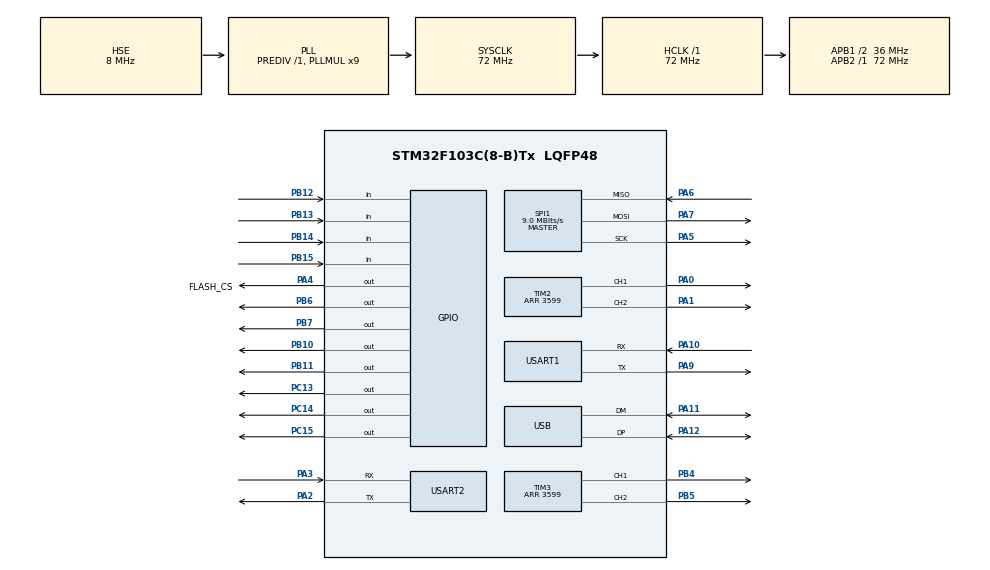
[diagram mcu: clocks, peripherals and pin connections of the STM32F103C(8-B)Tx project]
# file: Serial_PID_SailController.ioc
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Dma.Request0=USART1_TX
Dma.USART1_TX.0.Direction=DMA_MEMORY_TO_PERIPH
Dma.USART1_TX.0.Instance=DMA1_Channel4
Dma.USART1_TX.0.MemDataAlignment=DMA_MDATAALIGN_BYTE
Dma.USART1_TX.0.MemInc=DMA_MINC_ENABLE
Dma.USART1_TX.0.Mode=DMA_NORMAL
Dma.USART1_TX.0.PeriphDataAlignment=DMA_PDATAALIGN_BYTE
Dma.USART1_TX.0.PeriphInc=DMA_PINC_DISABLE
Dma.USART1_TX.0.Priority=DMA_PRIORITY_LOW
Mcu.Family=STM32F1
Mcu.Name=STM32F103C(8-B)Tx
Mcu.Package=LQFP48
NVIC.DMA1_Channel4_IRQn=true\:0\:0\:false\:false\:true\:false\:true\:true
NVIC.PriorityGroup=NVIC_PRIORITYGROUP_4
NVIC.TIM1_BRK_IRQn=true\:0\:0\:false\:false\:true\:true\:true\:true
NVIC.TIM1_UP_IRQn=true\:0\:0\:false\:false\:true\:true\:true\:true
NVIC.USART1_IRQn=true\:1\:0\:true\:false\:true\:true\:true\:true
NVIC.USART2_IRQn=true\:2\:0\:true\:false\:true\:true\:true\:true
NVIC.USB_LP_CAN1_RX0_IRQn=true\:0\:0\:false\:false\:true\:false\:true\:true
PA0-WKUP.Signal=S_TIM2_CH1_ETR
PA1.Signal=S_TIM2_CH2
PA10.Mode=Asynchronous
PA10.Signal=USART1_RX
PA11.Mode=Device
PA11.Signal=USB_DM
PA12.Mode=Device
PA12.Signal=USB_DP
PA13.Mode=Serial_Wire
PA13.Signal=SYS_JTMS-SWDIO
PA14.Mode=Serial_Wire
PA14.Signal=SYS_JTCK-SWCLK
PA2.Mode=Asynchronous
PA2.Signal=USART2_TX
PA3.Mode=Asynchronous
PA3.Signal=USART2_RX
PA4.GPIO_Label=FLASH_CS
PA4.Signal=GPIO_Output
PA5.Mode=Full_Duplex_Master
PA5.Signal=SPI1_SCK
PA6.Mode=Full_Duplex_Master
PA6.Signal=SPI1_MISO
PA7.Mode=Full_Duplex_Master
PA7.Signal=SPI1_MOSI
PA9.Mode=Asynchronous
PA9.Signal=USART1_TX
PB10.GPIO_ModeDefaultOutputPP=GPIO_MODE_OUTPUT_OD
PB10.GPIO_PuPd=GPIO_NOPULL
PB10.PinState=GPIO_PIN_SET
PB10.Signal=GPIO_Output
PB11.GPIO_ModeDefaultOutputPP=GPIO_MODE_OUTPUT_OD
PB11.GPIO_PuPd=GPIO_NOPULL
PB11.PinState=GPIO_PIN_SET
PB11.Signal=GPIO_Output
PB12.GPIO_PuPd=GPIO_PULLUP
PB12.Signal=GPIO_Input
PB13.GPIO_PuPd=GPIO_PULLUP
PB13.Signal=GPIO_Input
PB14.GPIO_PuPd=GPIO_PULLUP
PB14.Signal=GPIO_Input
PB15.GPIO_PuPd=GPIO_PULLUP
PB15.Signal=GPIO_Input
PB4.Signal=S_TIM3_CH1
PB5.Signal=S_TIM3_CH2
PB6.GPIO_ModeDefaultOutputPP=GPIO_MODE_OUTPUT_OD
PB6.GPIO_PuPd=GPIO_NOPULL
PB6.PinState=GPIO_PIN_SET
PB6.Signal=GPIO_Output
PB7.GPIO_ModeDefaultOutputPP=GPIO_MODE_OUTPUT_OD
PB7.GPIO_PuPd=GPIO_NOPULL
PB7.PinState=GPIO_PIN_SET
PB7.Signal=GPIO_Output
PC13-TAMPER-RTC.GPIO_ModeDefaultOutputPP=GPIO_MODE_OUTPUT_OD
PC13-TAMPER-RTC.GPIO_PuPd=GPIO_NOPULL
PC13-TAMPER-RTC.Signal=GPIO_Output
PC14-OSC32_IN.GPIO_ModeDefaultOutputPP=GPIO_MODE_OUTPUT_OD
PC14-OSC32_IN.GPIO_PuPd=GPIO_NOPULL
PC14-OSC32_IN.Signal=GPIO_Output
PC15-OSC32_OUT.GPIO_ModeDefaultOutputPP=GPIO_MODE_OUTPUT_OD
PC15-OSC32_OUT.GPIO_PuPd=GPIO_NOPULL
PC15-OSC32_OUT.Signal=GPIO_Output
PD0-OSC_IN.Mode=HSE-External-Oscillator
PD0-OSC_IN.Signal=RCC_OSC_IN
PD1-OSC_OUT.Mode=HSE-External-Oscillator
PD1-OSC_OUT.Signal=RCC_OSC_OUT
ProjectManager.HeapSize=0x200
ProjectManager.StackSize=0x400
ProjectManager.TargetToolchain=MDK-ARM V5.32
RCC.AHBFreq_Value=72000000
RCC.APB1CLKDivider=RCC_HCLK_DIV2
RCC.APB1Freq_Value=36000000
RCC.APB1TimFreq_Value=72000000
RCC.APB2Freq_Value=72000000
RCC.APB2TimFreq_Value=72000000
RCC.HCLKFreq_Value=72000000
RCC.PLLMUL=RCC_PLL_MUL9
RCC.PLLSourceVirtual=RCC_PLLSOURCE_HSE
RCC.SYSCLKFreq_VALUE=72000000
RCC.SYSCLKSource=RCC_SYSCLKSOURCE_PLLCLK
RCC.USBFreq_Value=48000000
RCC.USBPrescaler=RCC_USBCLKSOURCE_PLL_DIV1_5
SH.S_TIM2_CH1_ETR.0=TIM2_CH1,PWM Generation1 CH1
SH.S_TIM2_CH2.0=TIM2_CH2,PWM Generation2 CH2
SH.S_TIM3_CH1.0=TIM3_CH1,PWM Generation1 CH1
SH.S_TIM3_CH2.0=TIM3_CH2,PWM Generation2 CH2
SPI1.BaudRatePrescaler=SPI_BAUDRATEPRESCALER_8
SPI1.CalculateBaudRate=9.0 MBits/s
SPI1.Direction=SPI_DIRECTION_2LINES
SPI1.Mode=SPI_MODE_MASTER
SPI1.VirtualType=VM_MASTER
TIM1.Period=4999
TIM1.Prescaler=71
TIM2.Channel-PWM\ Generation1\ CH1=TIM_CHANNEL_1
TIM2.Channel-PWM\ Generation2\ CH2=TIM_CHANNEL_2
TIM2.Period=3599
TIM3.Channel-PWM\ Generation1\ CH1=TIM_CHANNEL_1
TIM3.Channel-PWM\ Generation2\ CH2=TIM_CHANNEL_2
TIM3.Period=3599
USART1.VirtualMode=VM_ASYNC
USART2.VirtualMode=VM_ASYNC
USB_DEVICE.CLASS_NAME_FS=CDC
USB_DEVICE.VirtualMode=Cdc
USB_DEVICE.VirtualModeFS=Cdc_FS
VP_TIM1_VS_ClockSourceINT.Mode=Internal
VP_USB_DEVICE_VS_USB_DEVICE_CDC_FS.Mode=CDC_FS
board=custom

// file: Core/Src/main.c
/* USER CODE BEGIN Header */
/**
  ******************************************************************************
  * @file           : main.c
  * @brief          : Main program body
  ******************************************************************************
  * @attention
  *
  * Copyright (c) 2026 STMicroelectronics.
  * All rights reserved.
  *
  * This software is licensed under terms that can be found in the LICENSE file
  * in the root directory of this software component.
  * If no LICENSE file comes with this software, it is provided AS-IS.
  *
  ******************************************************************************
  */
/* USER CODE END Header */
#include "main.h"
#include "dma.h"
#include "spi.h"
#include "tim.h"
#include "usart.h"
#include "usb_device.h"
#include "gpio.h"

/* USER CODE BEGIN Includes */
#include "usbd_cdc_if.h"
#include "Light_Sound.h"
#include "I2C.h"
#include "OLED.h"
#include "MPU6050.h"
#include "Motor.h"
#include "Kalman.h"
#include "PID.h"
#include "FiniteState_Machine.h"
#include "ringbuf.h"

#include "KeyScan.h"
#include <stdio.h>
#include <math.h>
/* USER CODE END Includes */

/* USER CODE BEGIN PV */

// I2C引脚定义
SoftI2C_t i2c_oled = {GPIOB, GPIO_PIN_6,  GPIOB, GPIO_PIN_7 };
SoftI2C_t i2c_mpu  = {GPIOB, GPIO_PIN_10, GPIOB, GPIO_PIN_11};

// MPU6050数据参数
volatile MPU6050_Data_t mpu_data;

// 卡尔曼滤波参数
Kalman_t kalman;
volatile float pitch = 0.0f;
volatile float acc_angle = 0.0f;
volatile float gyro_rate = 0.0f;

// PID参数
PID_t pid_angle;    // 外环PID
PID_t pid_gyro;     // 内环PID

// 按键检测参数
volatile KeyValue_t key_from_isr = Key_None;

// 电机参数
const float U0 = 50.0f;   // 基础占空比

// 速度控制模式参数
volatile uint8_t is_speed_mode = 0;    // 0 = 角度控制模式 1 = 速度控制模式
volatile float   omega_cmd = 0.0f;       // 目标角速度

// 全局参数
float target_angle = 90.0f; // 用于PID调试
float current_angle = 90.0f;         // 实际角度
volatile uint32_t sys_tick_ms = 0;  // 系统时间戳

//winly:
extern ringbuf_t ringbuffer;
volatile float physical_angle = 0.0f;
volatile float target_omega = 0.0f;
volatile float total_delta_u = 0.0f;
volatile float test_angle = 90.0f;//用于调试pid
volatile float test_omega = 0.0f;

char msg[64];//打印
/* USER CODE END PV */

void SystemClock_Config(void);

/* USER CODE BEGIN 0 */
void myprintf(const char *msg)
{
    if (msg == NULL) return;

    uint16_t len = (uint16_t)strlen(msg);
    if (len == 0) return;
    HAL_UART_Transmit_DMA(&huart1,(uint8_t *)msg, len);

}
/* USER CODE END 0 */

int main(void)
{

  /* MCU Configuration--------------------------------------------------------*/

  /* Reset of all peripherals, Initializes the Flash interface and the Systick. */
  HAL_Init();

  /* Configure the system clock */
  SystemClock_Config();

  /* Initialize all configured peripherals */
  MX_GPIO_Init();
  MX_DMA_Init();
  MX_SPI1_Init();
  MX_TIM1_Init();
  MX_TIM2_Init();
  MX_USART1_UART_Init();
  MX_USART2_UART_Init();
  MX_USB_DEVICE_Init();
  MX_TIM3_Init();
  /* USER CODE BEGIN 2 */
  LED_OFF();                      // Ϩ��LED

  // I2C初始化
  SoftI2C_Init(&i2c_oled);
  SoftI2C_Init(&i2c_mpu);

  // OLED初始化
  OLED_Init(&i2c_oled);           // ��ʼ��OLED
  OLED_TestAllOn();
  HAL_Delay(1000);
  OLED_Clear();

  // MPU6050 初始化
  MPU6050_Init(&i2c_mpu);
  MPU6050_Calibrate(200);

  // 电机初始化
  Motor_Init();

  // 卡尔曼滤波初始化
  Kalman_Init(&kalman);

  // PID初始化
  PID_Init(&pid_angle, 0.4f, 0.0f, 0.0f, 20.0f);   // 外环PID，期望角速度±20deg/s //3.4725f, 0.0625f, 0.2025f
  PID_Init(&pid_gyro,  0.01937f, 0.0f, 0.01055f, 60.0f);   // 内环PID，限制delta_u ±60% // 0.01935f, 0.0105f, 0.0f

  // TIM1 1kHz 初始化
  __HAL_TIM_SET_COUNTER(&htim1, 0); // tim1 计数器从0开始
  HAL_TIM_Base_Start_IT(&htim1);    // tim1 中断初始化

  //winly:

  // 初始化界面展示
  uint8_t who_am_i = SoftI2C_ReadReg(&i2c_mpu, 0x68, 0x75);

  OLED_ShowString(0, 0, "OLED OK!");
  OLED_ShowString(0, 2, "I2C OK!");
  OLED_ShowString(0, 4, "2026-10-16");
  OLED_ShowInt(0, 6, (int32_t)who_am_i);
  OLED_ShowString(25, 6, "MPU6050 OK!");
  OLED_Refresh();                 // ˢ�µ���Ļ
  HAL_Delay(1000);
  OLED_Clear();
  OLED_Refresh();

  /* USER CODE END 2 */

  /* Infinite loop */
  /* USER CODE BEGIN WHILE */
  uint8_t key1_cnt = 0, key2_cnt = 0, key3_cnt = 0, key4_cnt = 0;
  KeyValue_t current_key;

  while (1)
  {

    // 屏幕刷新
    OLED_Clear();

    FSM_Update();

    OLED_ShowString(0, 0, "Target:");
    OLED_ShowInt(60, 0, (int)target_angle);

    OLED_ShowString(0, 2, "Current:");
    OLED_ShowFloat(60, 2, 90.0f-pitch, 2);

    OLED_ShowString(0, 4, "PID Out:");
    OLED_ShowFloat(60, 4, pid_gyro.Output, 2);

    OLED_ShowString(0, 6, "okp");
    OLED_ShowFloat(60, 6, pid_angle.Kp, 4);

    OLED_Refresh();
    sprintf(msg,"%.2f,%.2f,%.2f,%.2f,%.2f,%.2f\n",target_angle,physical_angle,target_omega,gyro_rate,pid_gyro.Output,total_delta_u);
    myprintf(msg);

    HAL_Delay(50);
    /* USER CODE END WHILE */

  }
}

void SystemClock_Config(void)
{
  RCC_OscInitTypeDef RCC_OscInitStruct = {0};
  RCC_ClkInitTypeDef RCC_ClkInitStruct = {0};
  RCC_PeriphCLKInitTypeDef PeriphClkInit = {0};

  /** Initializes the RCC Oscillators according to the specified parameters
  * in the RCC_OscInitTypeDef structure.
  */
  RCC_OscInitStruct.OscillatorType = RCC_OSCILLATORTYPE_HSE;
  RCC_OscInitStruct.HSEState = RCC_HSE_ON;
  RCC_OscInitStruct.HSEPredivValue = RCC_HSE_PREDIV_DIV1;
  RCC_OscInitStruct.HSIState = RCC_HSI_ON;
  RCC_OscInitStruct.PLL.PLLState = RCC_PLL_ON;
  RCC_OscInitStruct.PLL.PLLSource = RCC_PLLSOURCE_HSE;
  RCC_OscInitStruct.PLL.PLLMUL = RCC_PLL_MUL9;
  if (HAL_RCC_OscConfig(&RCC_OscInitStruct) != HAL_OK)
  {
    Error_Handler();
  }

  /** Initializes the CPU, AHB and APB buses clocks
  */
  RCC_ClkInitStruct.ClockType = RCC_CLOCKTYPE_HCLK|RCC_CLOCKTYPE_SYSCLK
                              |RCC_CLOCKTYPE_PCLK1|RCC_CLOCKTYPE_PCLK2;
  RCC_ClkInitStruct.SYSCLKSource = RCC_SYSCLKSOURCE_PLLCLK;
  RCC_ClkInitStruct.AHBCLKDivider = RCC_SYSCLK_DIV1;
  RCC_ClkInitStruct.APB1CLKDivider = RCC_HCLK_DIV2;
  RCC_ClkInitStruct.APB2CLKDivider = RCC_HCLK_DIV1;

  if (HAL_RCC_ClockConfig(&RCC_ClkInitStruct, FLASH_LATENCY_2) != HAL_OK)
  {
    Error_Handler();
  }
  PeriphClkInit.PeriphClockSelection = RCC_PERIPHCLK_USB;
  PeriphClkInit.UsbClockSelection = RCC_USBCLKSOURCE_PLL_DIV1_5;
  if (HAL_RCCEx_PeriphCLKConfig(&PeriphClkInit) != HAL_OK)
  {
    Error_Handler();
  }
}

/* USER CODE BEGIN 4 */
void HAL_TIM_PeriodElapsedCallback(TIM_HandleTypeDef *htim)
{
  if(htim->Instance == TIM1)
  {
    /*声光提示更新*/
    Buzzer_Update();
    LED_DoubleFlash_Update(Light_Sound_GetDuration());
    Light_Sound_Update();

    /*MPU6050数据更新，读取姿态*/
    MPU6050_ReadData((MPU6050_Data_t *)&mpu_data);
    float temp_acc_angle = MPU6050_GetAccAngle((MPU6050_Data_t *)&mpu_data);

    if(temp_acc_angle != 999.0f)
    { acc_angle = temp_acc_angle;   // 数据正常
    }
    else
    { acc_angle = pitch;            // 数据异常，保持上次数据
    }

    float raw_gyro = mpu_data.gyro_y;
    // 角速度低通滤波
    static float filtered_gyro = 0.0f;
    filtered_gyro = 0.3f * filtered_gyro + 0.7f * raw_gyro;
    gyro_rate = filtered_gyro;

    pitch = Kalman_Update(&kalman, acc_angle, gyro_rate, 0.005f);
    //  坐标系修正
    physical_angle = 90.0f - pitch;
    current_angle = physical_angle;

    /*系统计时*/
    sys_tick_ms +=5 ;

    /*按键扫描*/
    KeyValue_t temp_key = Key_Scan();
    if(temp_key != Key_None)
    {
      key_from_isr = temp_key;
    }

    /*串级PID*/
    // 内环 5ms 外环 25ms
    static uint8_t outer_loop_cnt = 0;

    outer_loop_cnt++;
    if(outer_loop_cnt >= 5) // 5 * 5ms = 25ms
    {
      outer_loop_cnt = 0;

      if(is_speed_mode)
      {
        target_omega = omega_cmd; // 速度模式，使用预设角速度
      }else{
        // 外环
        target_omega = PID_Compute(&pid_angle, target_angle, physical_angle, 0.025f);
      }
    }

    // 内环
    target_omega = test_omega;
    float delta_u_feedback = PID_Compute(&pid_gyro,target_omega, gyro_rate, 0.005f);//

//		// 前馈处理
//    float target_rad = target_angle * 3.14159f / 180.0f;
//    float delta_u_ff = 0.0f;
//    if(fabsf(target_rad - 1.5708f) > 0.01f)
//    {
//      delta_u_ff = -40.0625f * tanf(target_rad) ; // -40.0625f
//      if(delta_u_ff > +50.0f) delta_u_ff = +50.0f;
//      if(delta_u_ff < -50.0f) delta_u_ff = -50.0f;
//    }

    total_delta_u = delta_u_feedback;// + delta_u_ff;
    //死区屏蔽
    if (total_delta_u > 0.0f && total_delta_u < 0.5)  total_delta_u = 0.0f; // 0.5
    if (total_delta_u < 0.0f && total_delta_u > -0.5) total_delta_u = 0.0f;

		// 消除机械静差
//    total_delta_u += -4.0f;
    /*分配PWM*/
    float u1 = U0 + (total_delta_u / 2.0f);
    float u2 = U0 - (total_delta_u / 2.0f);

    if(u1 > 100.0f) u1 = 100.0f;
    if(u2 > 100.0f) u2 = 100.0f;
    if(u1 < 0.0f)   u1 = 0.0f;
    if(u2 < 0.0f)   u2 = 0.0f;

    Motor_SetPWM(u1, u2);

  }
  else if(htim->Instance == TIM2)
  {

  }
}
/* USER CODE END 4 */

void Error_Handler(void)
{
  __disable_irq();
  while (1)
  {
  }
}
